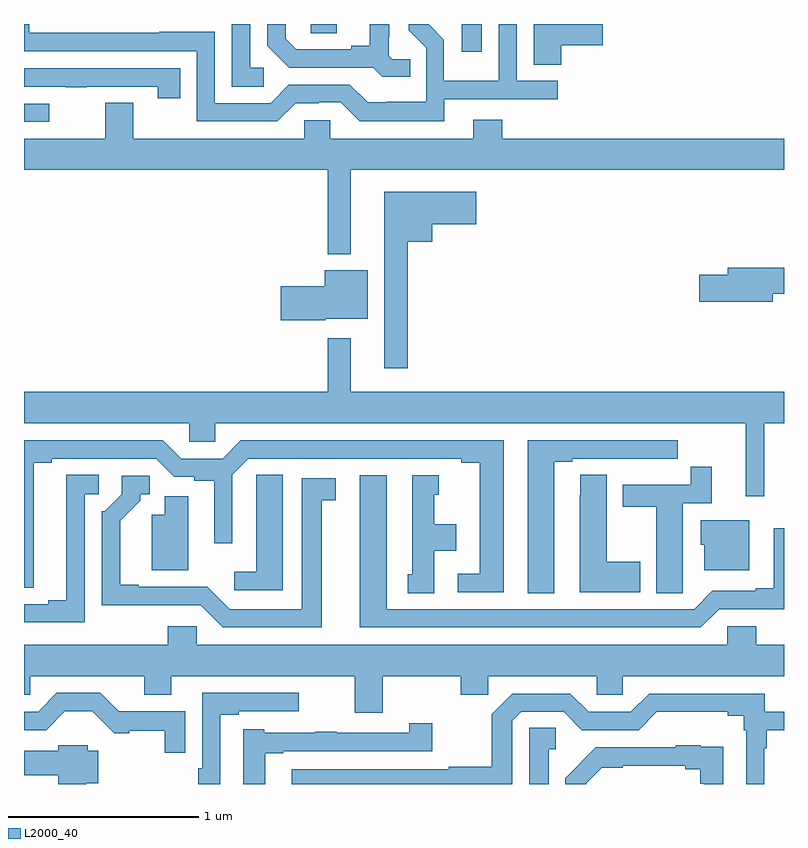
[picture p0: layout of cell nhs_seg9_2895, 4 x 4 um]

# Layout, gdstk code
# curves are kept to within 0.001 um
import gdstk
lib = gdstk.Library(unit=1e-6, precision=1e-09)
def R(c, l, rs):  # rectangles x0, y0, x1, y1
    for r in rs: c.add(gdstk.rectangle(r[:2], r[2:], *l))
def P(c, l, *ps):  # polygons
    for p in ps: c.add(gdstk.Polygon(p, *l))
L2000_40 = (2000, 40)

nhs_seg9_2895 = lib.new_cell('nhs_seg9_2895')
R(nhs_seg9_2895, L2000_40, [(277,1217.985,277.132,1218.081), (279.305,1218.354,279.409,1218.5), (278.508,1218.451,278.647,1218.5)])
P(nhs_seg9_2895, L2000_40, [(279.827,1218.389),(280.045,1218.389),(280.045,1218.5),(279.683,1218.5),(279.683,1218.286),(279.827,1218.286)],
  [(279.211,1218.105),(279.808,1218.105),(279.808,1218.201),(279.594,1218.201),(279.594,1218.5),(279.498,1218.5),(279.498,1218.202),(279.21,1218.202),(279.21,1218.418),(279.129,1218.5),(279.024,1218.5),(279.024,1218.468),(279.117,1218.375),(279.117,1218.091),(278.908,1218.091),(278.908,1218.087),(278.808,1218.087),(278.715,1218.18),(278.394,1218.18),(278.298,1218.084),(278.004,1218.084),(278.004,1218.46),(277.713,1218.46),(277.713,1218.453),(277.027,1218.454),(277.027,1218.5),(277,1218.5),(277,1218.357),(277.908,1218.357),(277.908,1217.988),(278.334,1217.988),(278.43,1218.084),(278.55,1218.084),(278.55,1218.087),(278.667,1218.087),(278.767,1217.987),(279.211,1217.987)],
  [(278.263,1218.27),(278.19,1218.27),(278.19,1218.5),(278.094,1218.5),(278.094,1218.169),(278.263,1218.169)],
  [(279.032,1218.315),(278.937,1218.315),(278.919,1218.333),(278.919,1218.433),(278.923,1218.433),(278.923,1218.5),(278.819,1218.5),(278.819,1218.386),(278.723,1218.386),(278.723,1218.366),(278.434,1218.366),(278.377,1218.423),(278.377,1218.5),(278.28,1218.5),(278.28,1218.386),(278.396,1218.27),(278.838,1218.27),(278.886,1218.223),(279.032,1218.223)],
  [(277.823,1218.267),(277,1218.267),(277,1218.171),(277.219,1218.171),(277.219,1218.166),(277.331,1218.166),(277.331,1218.171),(277.705,1218.171),(277.705,1218.108),(277.823,1218.108)],
  [(278.719,1217.732),(281,1217.732),(281,1217.896),(279.518,1217.896),(279.518,1217.995),(279.365,1217.995),(279.365,1217.896),(278.613,1217.896),(278.613,1217.994),(278.475,1217.994),(278.475,1217.896),(277.575,1217.896),(277.575,1218.086),(277.427,1218.086),(277.427,1217.896),(277,1217.896),(277,1217.732),(278.598,1217.732),(278.598,1217.288),(278.719,1217.288)],
  [(279.019,1217.354),(279.148,1217.354),(279.148,1217.447),(279.379,1217.447),(279.379,1217.617),(278.897,1217.617),(278.897,1216.689),(279.019,1216.689)],
  [(280.942,1217.08),(281,1217.08),(281,1217.216),(280.703,1217.216),(280.703,1217.18),(280.554,1217.18),(280.554,1217.038),(280.942,1217.038)],
  [(278.586,1216.949),(278.809,1216.949),(278.809,1217.203),(278.582,1217.203),(278.582,1217.12),(278.352,1217.12),(278.352,1216.942),(278.586,1216.942)],
  [(280.896,1216.4),(281,1216.4),(281,1216.564),(278.719,1216.564),(278.719,1216.846),(278.598,1216.846),(278.598,1216.564),(277,1216.564),(277,1216.4),(277.869,1216.4),(277.869,1216.302),(278.007,1216.302),(278.007,1216.4),(280.799,1216.4),(280.799,1216.014),(280.896,1216.014)],
  [(279.79,1216.197),(279.886,1216.197),(279.886,1216.212),(280.162,1216.212),(280.162,1216.211),(280.328,1216.211),(280.328,1216.212),(280.441,1216.212),(280.441,1216.308),(279.65,1216.308),(279.65,1215.505),(279.79,1215.505)],
  [(279.526,1216.308),(278.141,1216.308),(278.045,1216.212),(277.827,1216.212),(277.731,1216.308),(277,1216.308),(277,1215.532),(277.051,1215.532),(277.051,1216.192),(277.147,1216.192),(277.147,1216.212),(277.695,1216.212),(277.791,1216.116),(277.896,1216.116),(277.896,1216.096),(278,1216.096),(278,1215.768),(278.097,1215.768),(278.097,1216.128),(278.181,1216.212),(279.302,1216.212),(279.302,1216.192),(279.398,1216.192),(279.398,1215.606),(279.282,1215.606),(279.282,1215.51),(279.526,1215.51)],
  [(280.467,1215.616),(280.468,1215.616),(280.468,1215.978),(280.619,1215.978),(280.619,1216.171),(280.51,1216.171),(280.51,1216.074),(280.151,1216.074),(280.151,1215.958),(280.328,1215.958),(280.328,1215.505),(280.467,1215.505)],
  [(277.32,1216.026),(277.393,1216.026),(277.393,1216.127),(277.223,1216.127),(277.223,1215.467),(277.127,1215.467),(277.127,1215.447),(277,1215.447),(277,1215.351),(277.32,1215.351)],
  [(280.243,1215.669),(280.066,1215.669),(280.066,1216.127),(279.927,1216.127),(279.927,1216.019),(279.926,1216.019),(279.926,1215.509),(280.243,1215.509)],
  [(278.362,1216.127),(278.223,1216.127),(278.223,1216.019),(278.222,1216.019),(278.222,1215.616),(278.106,1215.616),(278.106,1215.519),(278.362,1215.519)],
  [(280.659,1215.42),(281,1215.42),(281,1215.847),(280.946,1215.847),(280.946,1215.529),(280.85,1215.529),(280.85,1215.516),(280.623,1215.516),(280.527,1215.42),(278.908,1215.42),(278.908,1216.126),(278.768,1216.126),(278.768,1215.324),(280.563,1215.324)],
  [(279.16,1215.728),(279.274,1215.728),(279.274,1215.868),(279.16,1215.868),(279.16,1216.023),(279.184,1216.023),(279.184,1216.126),(279.044,1216.126),(279.044,1215.603),(279.02,1215.603),(279.02,1215.505),(279.16,1215.505)],
  [(278.566,1215.994),(278.641,1215.994),(278.641,1216.11),(278.462,1216.11),(278.462,1215.42),(278.082,1215.42),(277.965,1215.537),(277.603,1215.537),(277.603,1215.55),(277.507,1215.55),(277.507,1215.886),(277.612,1215.991),(277.612,1216.026),(277.662,1216.026),(277.662,1216.122),(277.515,1216.122),(277.515,1216.026),(277.425,1215.936),(277.41,1215.936),(277.41,1215.44),(277.929,1215.441),(278.046,1215.324),(278.566,1215.324)],
  [(277.864,1216.014),(277.742,1216.014),(277.742,1215.916),(277.673,1215.916),(277.673,1215.626),(277.864,1215.626)],
  [(280.816,1215.889),(280.562,1215.889),(280.562,1215.759),(280.58,1215.759),(280.58,1215.626),(280.816,1215.626)],
  [(278.889,1215.068),(279.298,1215.068),(279.298,1214.97),(279.443,1214.97),(279.443,1215.068),(280.014,1215.068),(280.014,1214.97),(280.152,1214.97),(280.152,1215.068),(281,1215.068),(281,1215.232),(280.853,1215.232),(280.853,1215.33),(280.701,1215.33),(280.701,1215.232),(277.908,1215.232),(277.908,1215.33),(277.757,1215.33),(277.757,1215.232),(277,1215.232),(277,1214.97),(277.032,1214.97),(277.032,1215.068),(277.634,1215.068),(277.634,1214.969),(277.774,1214.969),(277.774,1215.068),(278.741,1215.068),(278.741,1214.874),(278.889,1214.874)],
  [(277.848,1214.882),(277.499,1214.882),(277.401,1214.979),(277.173,1214.979),(277.074,1214.88),(277,1214.88),(277,1214.784),(277.116,1214.784),(277.214,1214.882),(277.36,1214.882),(277.474,1214.768),(277.555,1214.768),(277.555,1214.779),(277.74,1214.779),(277.74,1214.664),(277.848,1214.664)],
  [(278.034,1214.865),(278.131,1214.865),(278.131,1214.883),(278.446,1214.883),(278.446,1214.979),(277.938,1214.979),(277.938,1214.584),(277.918,1214.584),(277.918,1214.5),(278.034,1214.5)],
  [(279.57,1214.832),(279.618,1214.88),(279.84,1214.88),(279.936,1214.784),(280.236,1214.784),(280.331,1214.879),(280.703,1214.879),(280.703,1214.86),(280.788,1214.86),(280.788,1214.783),(280.8,1214.783),(280.8,1214.5),(280.896,1214.5),(280.896,1214.687),(280.909,1214.687),(280.909,1214.784),(281,1214.784),(281,1214.88),(280.899,1214.88),(280.899,1214.976),(280.29,1214.976),(280.194,1214.88),(279.972,1214.88),(279.876,1214.976),(279.57,1214.976),(279.462,1214.867),(279.462,1214.59),(279.235,1214.59),(279.235,1214.577),(278.409,1214.577),(278.409,1214.5),(279.57,1214.5)],
  [(278.269,1214.661),(278.365,1214.661),(278.365,1214.673),(279.148,1214.673),(279.148,1214.821),(279.027,1214.821),(279.027,1214.769),(278.645,1214.769),(278.645,1214.774),(278.533,1214.774),(278.533,1214.769),(278.265,1214.769),(278.265,1214.788),(278.153,1214.788),(278.153,1214.5),(278.269,1214.5)],
  [(279.763,1214.684),(279.798,1214.684),(279.798,1214.795),(279.66,1214.795),(279.66,1214.687),(279.659,1214.687),(279.659,1214.5),(279.763,1214.5)],
  [(279.958,1214.503),(280.041,1214.586),(280.15,1214.586),(280.15,1214.597),(280.481,1214.597),(280.481,1214.578),(280.56,1214.578),(280.56,1214.501),(280.681,1214.5),(280.681,1214.696),(280.563,1214.696),(280.563,1214.704),(280.431,1214.704),(280.431,1214.694),(280.01,1214.694),(279.931,1214.615),(279.932,1214.614),(279.848,1214.531),(279.848,1214.5),(279.958,1214.5)],
  [(277.327,1214.504),(277.39,1214.504),(277.39,1214.674),(277.335,1214.674),(277.335,1214.704),(277.18,1214.704),(277.18,1214.674),(277.002,1214.674),(277.002,1214.545),(277.18,1214.545),(277.18,1214.5),(277.327,1214.5)])

lib.write_gds('nhs_seg9_2895.gds')
